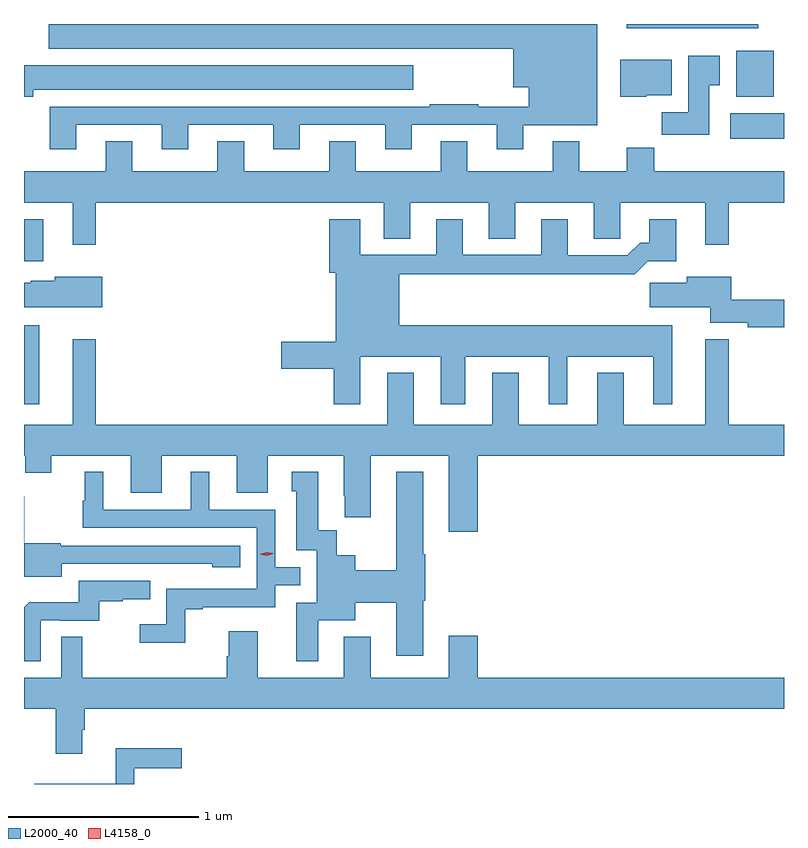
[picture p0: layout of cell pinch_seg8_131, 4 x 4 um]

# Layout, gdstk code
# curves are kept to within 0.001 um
import gdstk
lib = gdstk.Library(unit=1e-6, precision=1e-09)
def R(c, l, rs):  # rectangles x0, y0, x1, y1
    for r in rs: c.add(gdstk.rectangle(r[:2], r[2:], *l))
def P(c, l, *ps):  # polygons
    for p in ps: c.add(gdstk.Polygon(p, *l))
L2000_40 = (2000, 40)
L4158_0 = (4158, 0)

pinch_seg8_131 = lib.new_cell('pinch_seg8_131')
R(pinch_seg8_131, L2000_40, [(815.107,1132.755,815.188,1133.17), (815.107,1133.508,815.209,1133.728), (818.823,1134.152,819.107,1134.286), (818.855,1134.374,819.052,1134.616), (818.279,1134.734,818.971,1134.756)])
P(pinch_seg8_131, L2000_40, [(815.383,1134.225),(815.831,1134.225),(815.831,1134.096),(815.971,1134.096),(815.971,1134.225),(816.419,1134.225),(816.419,1134.096),(816.559,1134.096),(816.559,1134.225),(817.007,1134.225),(817.007,1134.096),(817.147,1134.096),(817.147,1134.225),(817.595,1134.225),(817.595,1134.096),(817.735,1134.096),(817.735,1134.224),(818.125,1134.224),(818.125,1134.756),(815.237,1134.756),(815.237,1134.626),(817.682,1134.626),(817.682,1134.422),(817.763,1134.422),(817.763,1134.321),(817.499,1134.321),(817.499,1134.334),(817.243,1134.334),(817.243,1134.321),(815.243,1134.321),(815.243,1134.096),(815.383,1134.096)],
  [(818.713,1134.433),(818.77,1134.433),(818.77,1134.589),(818.603,1134.589),(818.603,1134.292),(818.464,1134.292),(818.464,1134.174),(818.713,1134.174)],
  [(818.382,1134.38),(818.515,1134.38),(818.515,1134.568),(818.246,1134.568),(818.246,1134.374),(818.382,1134.374)],
  [(815.155,1134.41),(817.156,1134.41),(817.156,1134.538),(815.107,1134.538),(815.107,1134.373),(815.155,1134.373)],
  [(815.485,1133.816),(817.001,1133.816),(817.001,1133.626),(817.141,1133.626),(817.141,1133.816),(817.553,1133.816),(817.553,1133.626),(817.693,1133.626),(817.693,1133.816),(818.105,1133.816),(818.105,1133.626),(818.244,1133.626),(818.244,1133.816),(818.693,1133.816),(818.693,1133.595),(818.815,1133.595),(818.815,1133.816),(819.107,1133.816),(819.107,1133.98),(818.423,1133.98),(818.423,1134.104),(818.279,1134.104),(818.279,1133.98),(818.029,1133.98),(818.029,1134.139),(817.889,1134.139),(817.889,1133.98),(817.441,1133.98),(817.441,1134.14),(817.301,1134.14),(817.301,1133.98),(816.853,1133.98),(816.853,1134.14),(816.713,1134.14),(816.713,1133.98),(816.265,1133.98),(816.265,1134.14),(816.125,1134.14),(816.125,1133.98),(815.677,1133.98),(815.677,1134.14),(815.537,1134.14),(815.537,1133.98),(815.107,1133.98),(815.107,1133.816),(815.363,1133.816),(815.363,1133.595),(815.485,1133.595)],
  [(816.877,1133.006),(817.301,1133.006),(817.301,1132.755),(817.429,1132.755),(817.429,1133.006),(817.868,1133.006),(817.868,1132.755),(817.966,1132.755),(817.966,1133.006),(818.42,1133.006),(818.42,1132.755),(818.518,1132.755),(818.518,1133.17),(817.081,1133.17),(817.081,1133.44),(818.065,1133.44),(818.065,1133.438),(818.321,1133.438),(818.39,1133.507),(818.539,1133.507),(818.539,1133.728),(818.399,1133.728),(818.399,1133.605),(818.35,1133.605),(818.283,1133.538),(817.969,1133.538),(817.969,1133.728),(817.829,1133.728),(817.829,1133.541),(817.417,1133.541),(817.417,1133.728),(817.277,1133.728),(817.277,1133.541),(816.877,1133.541),(816.877,1133.728),(816.713,1133.728),(816.713,1133.448),(816.749,1133.448),(816.749,1133.084),(816.462,1133.084),(816.462,1132.942),(816.737,1132.942),(816.737,1132.755),(816.877,1132.755)],
  [(819.107,1133.306),(818.83,1133.306),(818.83,1133.425),(818.594,1133.425),(818.594,1133.393),(818.4,1133.393),(818.4,1133.264),(818.72,1133.264),(818.72,1133.183),(818.916,1133.183),(818.916,1133.159),(819.107,1133.159)],
  [(815.518,1133.425),(815.268,1133.425),(815.268,1133.404),(815.142,1133.404),(815.142,1133.393),(815.107,1133.393),(815.107,1133.264),(815.518,1133.264)],
  [(817.496,1132.484),(819.107,1132.484),(819.107,1132.648),(818.815,1132.648),(818.815,1133.098),(818.693,1133.098),(818.693,1132.648),(818.263,1132.648),(818.263,1132.921),(818.123,1132.921),(818.123,1132.648),(817.711,1132.648),(817.711,1132.921),(817.571,1132.921),(817.571,1132.648),(817.159,1132.648),(817.159,1132.921),(817.019,1132.921),(817.019,1132.648),(815.485,1132.648),(815.485,1133.098),(815.363,1133.098),(815.363,1132.648),(815.107,1132.648),(815.107,1132.484),(815.113,1132.484),(815.113,1132.394),(815.251,1132.394),(815.251,1132.484),(815.669,1132.484),(815.669,1132.29),(815.833,1132.29),(815.833,1132.484),(816.227,1132.484),(816.227,1132.29),(816.391,1132.29),(816.391,1132.484),(816.791,1132.484),(816.791,1132.273),(816.794,1132.273),(816.794,1132.161),(816.931,1132.161),(816.931,1132.484),(817.343,1132.484),(817.343,1132.083),(817.496,1132.083)],
  [(815.955,1131.675),(816.049,1131.675),(816.049,1131.687),(816.429,1131.687),(816.429,1131.801),(816.562,1131.801),(816.562,1131.897),(816.429,1131.897),(816.429,1132.2),(816.082,1132.2),(816.082,1132.399),(815.984,1132.399),(815.984,1132.2),(815.524,1132.2),(815.524,1132.399),(815.426,1132.399),(815.426,1132.248),(815.415,1132.248),(815.415,1132.104),(816.333,1132.104),(816.333,1131.783),(815.856,1131.783),(815.856,1131.598),(815.715,1131.598),(815.715,1131.5),(815.955,1131.5)],
  [(816.655,1131.617),(816.85,1131.617),(816.85,1131.709),(817.067,1131.709),(817.067,1131.432),(817.207,1131.432),(817.207,1131.72),(817.22,1131.72),(817.22,1131.964),(817.207,1131.964),(817.207,1132.399),(817.067,1132.399),(817.067,1131.881),(816.85,1131.881),(816.85,1131.961),(816.753,1131.961),(816.753,1132.091),(816.655,1132.091),(816.655,1132.399),(816.515,1132.399),(816.515,1132.296),(816.539,1132.296),(816.539,1131.987),(816.648,1131.987),(816.648,1131.711),(816.539,1131.711),(816.539,1131.402),(816.655,1131.402)],
  [(815.305,1131.915),(816.099,1131.914),(816.099,1131.896),(816.244,1131.896),(816.244,1132.011),(815.301,1132.011),(815.301,1132.024),(815.109,1132.024),(815.109,1132.269),(815.107,1132.271),(815.107,1131.848),(815.305,1131.848)],
  [(815.196,1131.618),(815.296,1131.618),(815.296,1131.615),(815.504,1131.615),(815.504,1131.717),(815.627,1131.717),(815.627,1131.728),(815.771,1131.728),(815.771,1131.825),(815.394,1131.825),(815.394,1131.713),(815.135,1131.713),(815.107,1131.685),(815.107,1131.401),(815.196,1131.401)],
  [(819.107,1131.316),(817.496,1131.316),(817.496,1131.535),(817.343,1131.535),(817.343,1131.316),(816.931,1131.316),(816.931,1131.532),(816.791,1131.532),(816.791,1131.316),(816.337,1131.316),(816.337,1131.559),(816.185,1131.559),(816.185,1131.429),(816.173,1131.429),(816.173,1131.316),(815.413,1131.316),(815.413,1131.53),(815.304,1131.53),(815.304,1131.316),(815.107,1131.316),(815.107,1131.152),(815.273,1131.152),(815.273,1130.916),(815.413,1130.916),(815.413,1131.042),(815.426,1131.042),(815.426,1131.152),(819.107,1131.152)],
  [(815.688,1130.84),(815.938,1130.84),(815.938,1130.944),(815.591,1130.944),(815.591,1130.758),(815.16,1130.758),(815.16,1130.756),(815.688,1130.756)])
P(pinch_seg8_131, L4158_0, [(816.384,1131.957),(816.349,1131.965),(816.348,1131.965),(816.349,1131.965),(816.382,1131.977),(816.417,1131.97),(816.418,1131.97),(816.417,1131.969)])

lib.write_gds('pinch_seg8_131.gds')
